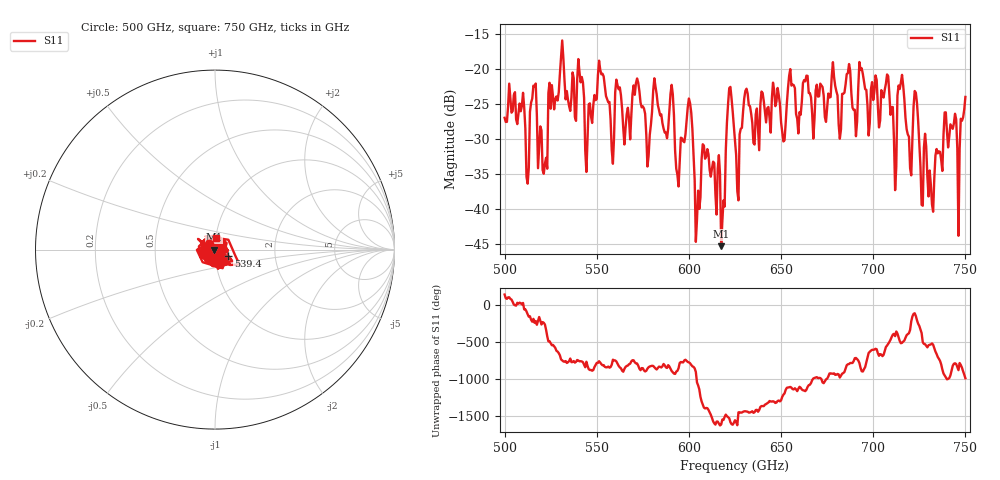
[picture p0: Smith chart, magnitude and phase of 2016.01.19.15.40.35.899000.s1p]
!Created with skrf (http://scikit-rf.org).
# GHz S RI R 50.0
!freq ReS11 ImS11
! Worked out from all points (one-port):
!   401 points, 500 GHz to 750 GHz, reference 50 ohm
!   lowest |S11| = -45.3 dB at 617.5 GHz (marker M1), VSWR 1.01, Z = 49.5 - j0.000587 ohm
!   |S11| at or under -10 dB: start of sweep to end of sweep
!   S11 on the Smith chart (normalised r, x): 500 GHz: 0.93, +0.05; 539.4 GHz: 1.16, -0.09; 750 GHz: 1.00, +0.13
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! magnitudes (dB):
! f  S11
! 500 GHz  -27.0
! 512.5 GHz  -36.4
! 515.6 GHz  -22.4
! 521.9 GHz  -33.5
! 531.2 GHz  -15.9
! 539.4 GHz  -21.5
! 545 GHz  -29.7
! 551.9 GHz  -20.1
! 558.1 GHz  -31.6
! 562.5 GHz  -22.6
! 578.1 GHz  -32.4
! 590.6 GHz  -22.3
! 593.8 GHz  -35.1
! 600 GHz  -24.2
! 605 GHz  -37.4
! 608.8 GHz  -32.8
! 617.5 GHz  -45.3
! 621.9 GHz  -22.7
! 625 GHz  -30.3
! 656.2 GHz  -22.2
! 687.5 GHz  -20.2
! 707.5 GHz  -20.8
! 711.2 GHz  -30.1
! 715 GHz  -21.9
! 718.8 GHz  -29.3
! 723.1 GHz  -23.4
! 731.2 GHz  -36.5
! 750 GHz  -24.0
